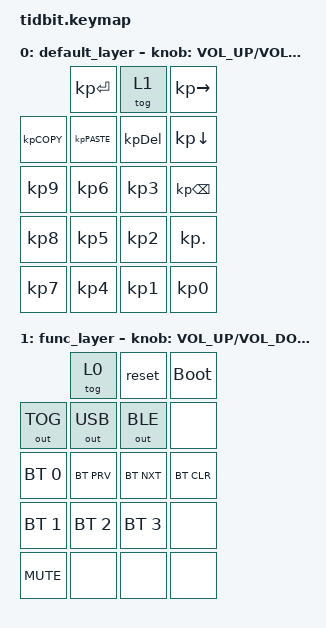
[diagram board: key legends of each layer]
/*
 * Copyright (c) 2020 The ZMK Contributors
 *
 * SPDX-License-Identifier: MIT
 */

#include "tidbit.dtsi"
#include <behaviors.dtsi>
#include <dt-bindings/zmk/keys.h>
#include <dt-bindings/zmk/bt.h>
#include <dt-bindings/zmk/outputs.h>

&encoder_4 {
	status = "okay";
};

/ {
	sensors {
		compatible = "zmk,keymap-sensors";
		sensors = <&encoder_4>;
	};

	keymap {
		compatible = "zmk,keymap";
		
		default_layer {
			bindings = <
								& KP_ENTER         &tog 1  &kp KP_RIGHT
				&kp KP_COPY &kp KP_PASTE &kp KP_DELETE &kp KP_DOWN
				&kp KP_NUMBER_9 &kp KP_NUMBER_6 &kp KP_NUMBER_3 &kp KP_BACKSPACE
				&kp KP_NUMBER_8 &kp KP_NUMBER_5 &kp KP_NUMBER_2 &kp KP_DOT
				&kp KP_NUMBER_7 &kp KP_NUMBER_4 &kp KP_NUMBER_1 &kp KP_NUMBER_0
			>;

			sensor-bindings = <&inc_dec_kp C_VOLUME_UP C_VOLUME_DOWN>;
		};

		 func_layer {
			 bindings = <
								&tog 0          &reset          &bootloader
				&out OUT_TOG    &out OUT_USB    &out OUT_BLE    &none
				&bt BT_SEL 0    &bt BT_PRV      &bt BT_NXT      &bt BT_CLR
				&bt BT_SEL 1    &bt BT_SEL 2    &bt BT_SEL 3    &none
				&kp C_MUTE      &none           &none           &none
			 >;

			sensor-bindings = <&inc_dec_kp C_VOLUME_UP C_VOLUME_DOWN>;
		 };
	};
};
